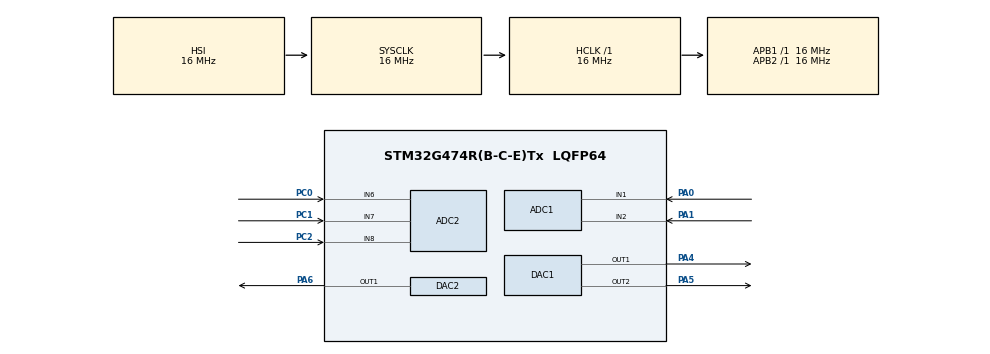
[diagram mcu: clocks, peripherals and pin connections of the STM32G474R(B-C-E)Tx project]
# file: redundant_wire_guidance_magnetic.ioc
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ADC1.Channel-2\#ChannelRegularConversion=ADC_CHANNEL_1
ADC1.Channel-3\#ChannelRegularConversion=ADC_CHANNEL_2
ADC1.ClockPrescaler=ADC_CLOCK_SYNC_PCLK_DIV4
ADC1.ContinuousConvMode=ENABLE
ADC1.DMAContinuousRequests=ENABLE
ADC1.EOCSelection=ADC_EOC_SINGLE_CONV
ADC1.NbrOfConversion=2
ADC1.NbrOfConversionFlag=1
ADC1.OffsetNumber-2\#ChannelRegularConversion=ADC_OFFSET_NONE
ADC1.OffsetNumber-3\#ChannelRegularConversion=ADC_OFFSET_NONE
ADC1.Overrun=ADC_OVR_DATA_OVERWRITTEN
ADC1.Rank-2\#ChannelRegularConversion=1
ADC1.Rank-3\#ChannelRegularConversion=2
ADC1.SamplingTime-2\#ChannelRegularConversion=ADC_SAMPLETIME_47CYCLES_5
ADC1.SamplingTime-3\#ChannelRegularConversion=ADC_SAMPLETIME_47CYCLES_5
ADC1.master=1
ADC2.Channel-3\#ChannelRegularConversion=ADC_CHANNEL_6
ADC2.Channel-4\#ChannelRegularConversion=ADC_CHANNEL_7
ADC2.Channel-5\#ChannelRegularConversion=ADC_CHANNEL_8
ADC2.ClockPrescaler=ADC_CLOCK_SYNC_PCLK_DIV4
ADC2.ContinuousConvMode=ENABLE
ADC2.DMAContinuousRequests=ENABLE
ADC2.EOCSelection=ADC_EOC_SINGLE_CONV
ADC2.NbrOfConversion=3
ADC2.NbrOfConversionFlag=1
ADC2.OffsetNumber-3\#ChannelRegularConversion=ADC_OFFSET_NONE
ADC2.OffsetNumber-4\#ChannelRegularConversion=ADC_OFFSET_NONE
ADC2.OffsetNumber-5\#ChannelRegularConversion=ADC_OFFSET_NONE
ADC2.Overrun=ADC_OVR_DATA_OVERWRITTEN
ADC2.Rank-3\#ChannelRegularConversion=1
ADC2.Rank-4\#ChannelRegularConversion=2
ADC2.Rank-5\#ChannelRegularConversion=3
ADC2.SamplingTime-3\#ChannelRegularConversion=ADC_SAMPLETIME_47CYCLES_5
ADC2.SamplingTime-4\#ChannelRegularConversion=ADC_SAMPLETIME_47CYCLES_5
ADC2.SamplingTime-5\#ChannelRegularConversion=ADC_SAMPLETIME_47CYCLES_5
DAC1.DAC_Channel-DAC_OUT2=DAC_CHANNEL_2
DAC1.DAC_Trigger2_OUT2-DAC_OUT2=DAC_TRIGGER_NONE
DAC1.DAC_Trigger_OUT1-DAC_OUT1=DAC_TRIGGER_T2_TRGO
DAC1.DAC_Trigger_OUT2-DAC_OUT2=DAC_TRIGGER_T2_TRGO
DAC1.WaveGeneration_OUT2-DAC_OUT2=DISABLE
DAC2.DAC_Trigger_OUT1-DAC_OUT1=DAC_TRIGGER_T2_TRGO
Dma.ADC1.0.Direction=DMA_PERIPH_TO_MEMORY
Dma.ADC1.0.EventEnable=DISABLE
Dma.ADC1.0.Instance=DMA1_Channel1
Dma.ADC1.0.MemDataAlignment=DMA_MDATAALIGN_HALFWORD
Dma.ADC1.0.MemInc=DMA_MINC_ENABLE
Dma.ADC1.0.Mode=DMA_CIRCULAR
Dma.ADC1.0.PeriphDataAlignment=DMA_PDATAALIGN_HALFWORD
Dma.ADC1.0.PeriphInc=DMA_PINC_DISABLE
Dma.ADC1.0.Polarity=HAL_DMAMUX_REQ_GEN_RISING
Dma.ADC1.0.Priority=DMA_PRIORITY_LOW
Dma.ADC1.0.RequestNumber=1
Dma.ADC1.0.SignalID=NONE
Dma.ADC1.0.SyncEnable=DISABLE
Dma.ADC1.0.SyncPolarity=HAL_DMAMUX_SYNC_NO_EVENT
Dma.ADC1.0.SyncRequestNumber=1
Dma.ADC1.0.SyncSignalID=NONE
Dma.ADC2.4.Direction=DMA_PERIPH_TO_MEMORY
Dma.ADC2.4.EventEnable=DISABLE
Dma.ADC2.4.Instance=DMA1_Channel5
Dma.ADC2.4.MemDataAlignment=DMA_MDATAALIGN_HALFWORD
Dma.ADC2.4.MemInc=DMA_MINC_ENABLE
Dma.ADC2.4.Mode=DMA_CIRCULAR
Dma.ADC2.4.PeriphDataAlignment=DMA_PDATAALIGN_HALFWORD
Dma.ADC2.4.PeriphInc=DMA_PINC_DISABLE
Dma.ADC2.4.Polarity=HAL_DMAMUX_REQ_GEN_RISING
Dma.ADC2.4.Priority=DMA_PRIORITY_LOW
Dma.ADC2.4.RequestNumber=1
Dma.ADC2.4.SignalID=NONE
Dma.ADC2.4.SyncEnable=DISABLE
Dma.ADC2.4.SyncPolarity=HAL_DMAMUX_SYNC_NO_EVENT
Dma.ADC2.4.SyncRequestNumber=1
Dma.ADC2.4.SyncSignalID=NONE
Dma.DAC1_CH1.2.Direction=DMA_MEMORY_TO_PERIPH
Dma.DAC1_CH1.2.EventEnable=DISABLE
Dma.DAC1_CH1.2.Instance=DMA1_Channel3
Dma.DAC1_CH1.2.MemDataAlignment=DMA_MDATAALIGN_HALFWORD
Dma.DAC1_CH1.2.MemInc=DMA_MINC_ENABLE
Dma.DAC1_CH1.2.Mode=DMA_CIRCULAR
Dma.DAC1_CH1.2.PeriphDataAlignment=DMA_PDATAALIGN_WORD
Dma.DAC1_CH1.2.PeriphInc=DMA_PINC_DISABLE
Dma.DAC1_CH1.2.Polarity=HAL_DMAMUX_REQ_GEN_RISING
Dma.DAC1_CH1.2.Priority=DMA_PRIORITY_LOW
Dma.DAC1_CH1.2.RequestNumber=1
Dma.DAC1_CH1.2.SignalID=NONE
Dma.DAC1_CH1.2.SyncEnable=DISABLE
Dma.DAC1_CH1.2.SyncPolarity=HAL_DMAMUX_SYNC_NO_EVENT
Dma.DAC1_CH1.2.SyncRequestNumber=1
Dma.DAC1_CH1.2.SyncSignalID=NONE
Dma.DAC1_CH2.1.Direction=DMA_MEMORY_TO_PERIPH
Dma.DAC1_CH2.1.EventEnable=DISABLE
Dma.DAC1_CH2.1.Instance=DMA1_Channel2
Dma.DAC1_CH2.1.MemDataAlignment=DMA_MDATAALIGN_HALFWORD
Dma.DAC1_CH2.1.MemInc=DMA_MINC_ENABLE
Dma.DAC1_CH2.1.Mode=DMA_CIRCULAR
Dma.DAC1_CH2.1.PeriphDataAlignment=DMA_PDATAALIGN_WORD
Dma.DAC1_CH2.1.PeriphInc=DMA_PINC_DISABLE
Dma.DAC1_CH2.1.Polarity=HAL_DMAMUX_REQ_GEN_RISING
Dma.DAC1_CH2.1.Priority=DMA_PRIORITY_LOW
Dma.DAC1_CH2.1.RequestNumber=1
Dma.DAC1_CH2.1.SignalID=NONE
Dma.DAC1_CH2.1.SyncEnable=DISABLE
Dma.DAC1_CH2.1.SyncPolarity=HAL_DMAMUX_SYNC_NO_EVENT
Dma.DAC1_CH2.1.SyncRequestNumber=1
Dma.DAC1_CH2.1.SyncSignalID=NONE
Dma.DAC2_CH1.3.Direction=DMA_MEMORY_TO_PERIPH
Dma.DAC2_CH1.3.EventEnable=DISABLE
Dma.DAC2_CH1.3.Instance=DMA1_Channel4
Dma.DAC2_CH1.3.MemDataAlignment=DMA_MDATAALIGN_HALFWORD
Dma.DAC2_CH1.3.MemInc=DMA_MINC_ENABLE
Dma.DAC2_CH1.3.Mode=DMA_CIRCULAR
Dma.DAC2_CH1.3.PeriphDataAlignment=DMA_PDATAALIGN_WORD
Dma.DAC2_CH1.3.PeriphInc=DMA_PINC_DISABLE
Dma.DAC2_CH1.3.Polarity=HAL_DMAMUX_REQ_GEN_RISING
Dma.DAC2_CH1.3.Priority=DMA_PRIORITY_LOW
Dma.DAC2_CH1.3.RequestNumber=1
Dma.DAC2_CH1.3.SignalID=NONE
Dma.DAC2_CH1.3.SyncEnable=DISABLE
Dma.DAC2_CH1.3.SyncPolarity=HAL_DMAMUX_SYNC_NO_EVENT
Dma.DAC2_CH1.3.SyncRequestNumber=1
Dma.DAC2_CH1.3.SyncSignalID=NONE
Dma.Request0=ADC1
Dma.Request1=DAC1_CH2
Dma.Request2=DAC1_CH1
Dma.Request3=DAC2_CH1
Dma.Request4=ADC2
Mcu.Family=STM32G4
Mcu.Name=STM32G474R(B-C-E)Tx
Mcu.Package=LQFP64
NVIC.DMA1_Channel5_IRQn=true\:0\:0\:false\:false\:true\:true\:true\:true
NVIC.PriorityGroup=NVIC_PRIORITYGROUP_4
NVIC.TIM3_IRQn=true\:0\:0\:false\:false\:true\:true\:true\:true
PA0.Mode=IN1-Single-Ended
PA0.Signal=ADC1_IN1
PA1.Mode=IN2-Single-Ended
PA1.Signal=ADC1_IN2
PA4.Signal=COMP_DAC11_group
PA5.Signal=COMP_DAC12_group
PA6.Signal=COMP_DAC21_group
PC0.Mode=IN6-Single-Ended
PC0.Signal=ADC2_IN6
PC1.Mode=IN7-Single-Ended
PC1.Signal=ADC2_IN7
PC2.Mode=IN8-Single-Ended
PC2.Signal=ADC2_IN8
ProjectManager.HeapSize=0x200
ProjectManager.StackSize=0x400
ProjectManager.TargetToolchain=STM32CubeIDE
RCC.AHBFreq_Value=16000000
RCC.APB1Freq_Value=16000000
RCC.APB1TimFreq_Value=16000000
RCC.APB2Freq_Value=16000000
RCC.APB2TimFreq_Value=16000000
RCC.CortexFreq_Value=16000000
RCC.EXTERNAL_CLOCK_VALUE=12288000
RCC.HCLKFreq_Value=16000000
RCC.HSE_VALUE=8000000
RCC.HSI48_VALUE=48000000
RCC.HSI_VALUE=16000000
RCC.LSE_VALUE=32768
RCC.SYSCLKFreq_VALUE=16000000
RCC.USBFreq_Value=64000000
RCC.VCOOutputFreq_Value=128000000
SH.COMP_DAC11_group.0=DAC1_OUT1,DAC_OUT1
SH.COMP_DAC12_group.0=DAC1_OUT2,DAC_OUT2
SH.COMP_DAC21_group.0=DAC2_OUT1,DAC_OUT1
TIM2.PeriodNoDither=50
TIM2.Prescaler=0
TIM2.TIM_MasterOutputTrigger=TIM_TRGO_UPDATE
TIM3.PeriodNoDither=9
TIM3.Prescaler=15999
VP_SYS_VS_DBSignals.Mode=DisableDeadBatterySignals
VP_TIM2_VS_ClockSourceINT.Mode=Internal
VP_TIM3_VS_ClockSourceINT.Mode=Internal
board=custom

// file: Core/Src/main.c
/* USER CODE BEGIN Header */
/*Hola soy motorolo */
//Soy mario
// that's me
/**
  ******************************************************************************
  * @file           : main.c
  * @brief          : Main program body
  ******************************************************************************
  * @attention
  *
  * Copyright (c) 2026 STMicroelectronics.
  * All rights reserved.
  *
  * This software is licensed under terms that can be found in the LICENSE file
  * in the root directory of this software component.
  * If no LICENSE file comes with this software, it is provided AS-IS.
  *
  ******************************************************************************
  */
/* USER CODE END Header */
#include "main.h"

/* USER CODE BEGIN Includes */
#include "math.h"
#include <stdlib.h>
/* USER CODE END Includes */

/* USER CODE BEGIN PTD */
typedef struct {
    float right;
    float left;
    float center;
} CoilDistances;

CoilDistances coil_distance;
/* USER CODE END PTD */

/* USER CODE BEGIN PM */
#define SAMPLES 60
#define DAC_CENTER 3102 // 2.5 V
#define DAC_MAX 3722 // 2.5 V + 500mV = 3V
#define PI 3.14159265f
#define SAMPLES_PER_CHANNEL 1024
#define ADC_BUFFER_SIZE 3072

/* USER CODE END PM */

ADC_HandleTypeDef hadc1;
ADC_HandleTypeDef hadc2;
DMA_HandleTypeDef hdma_adc1;
DMA_HandleTypeDef hdma_adc2;

DAC_HandleTypeDef hdac1;
DAC_HandleTypeDef hdac2;
DMA_HandleTypeDef hdma_dac1_ch2;
DMA_HandleTypeDef hdma_dac1_ch1;
DMA_HandleTypeDef hdma_dac2_ch1;

TIM_HandleTypeDef htim2;
TIM_HandleTypeDef htim3;

/* USER CODE BEGIN PV */
volatile uint16_t adc_buffer_magnetic[2];
volatile uint16_t adc_buffer_wire[3];

volatile uint16_t adc_buffer_wire_sin[ADC_BUFFER_SIZE];

HAL_StatusTypeDef status;

uint16_t sinewave[60] = {
0x07ff,0x08cb,0x0994,0x0a5a,0x0b18,0x0bce,0x0c79,0x0d18,0x0da8,0x0e29,0x0e98,0x0ef4,0x0f3e,0x0f72,0x0f92,0x0f9d,
0x0f92,0x0f72,0x0f3e,0x0ef4,0x0e98,0x0e29,0x0da8,0x0d18,0x0c79,0x0bce,0x0b18,0x0a5a,0x0994,0x08cb,0x07ff,0x0733,
0x066a,0x05a4,0x04e6,0x0430,0x0385,0x02e6,0x0256,0x01d5,0x0166,0x010a,0x00c0,0x008c,0x006c,0x0061,0x006c,0x008c,
0x00c0,0x010a,0x0166,0x01d5,0x0256,0x02e6,0x0385,0x0430,0x04e6,0x05a4,0x066a,0x0733};

uint16_t sinewave_left[SAMPLES];
uint16_t sinewave_right[SAMPLES];
uint16_t sinewave_center[SAMPLES];
/* USER CODE END PV */

void SystemClock_Config(void);
static void MX_GPIO_Init(void);
static void MX_DMA_Init(void);
static void MX_ADC1_Init(void);
static void MX_DAC1_Init(void);
static void MX_TIM2_Init(void);
static void MX_TIM3_Init(void);
static void MX_DAC2_Init(void);
static void MX_ADC2_Init(void);
/* USER CODE BEGIN PFP */
void GenerateLeftSineWave(uint16_t amplitude);
void GenerateRightSineWave(uint16_t amplitude);
void GenerateCenterSineWave(uint16_t amplitude);
float normalize_sensor0(uint16_t s0);
float normalize_sensor1(uint16_t s1);
int16_t calculate_error(uint16_t s0);
/* USER CODE END PFP */

int main(void)
{

  /* USER CODE BEGIN 1 */
	GenerateCenterSineWave(300);
  /* USER CODE END 1 */

  /* MCU Configuration--------------------------------------------------------*/

  /* Reset of all peripherals, Initializes the Flash interface and the Systick. */
  HAL_Init();

  /* Configure the system clock */
  SystemClock_Config();

  /* Initialize all configured peripherals */
  MX_GPIO_Init();
  MX_DMA_Init();
  MX_ADC1_Init();
  MX_DAC1_Init();
  MX_TIM2_Init();
  MX_TIM3_Init();
  MX_DAC2_Init();
  MX_ADC2_Init();
  /* USER CODE BEGIN 2 */
  //HAL_ADCEx_Calibration_Start(&hadc1, ADC_SINGLE_ENDED);

  if (HAL_ADC_Start_DMA(&hadc1, (uint32_t*)adc_buffer_magnetic, 2) != HAL_OK)
        {
          /* Counter enable error */
          Error_Handler();
        }

  if (HAL_ADC_Start_DMA(&hadc2, (uint32_t*)adc_buffer_wire_sin, ADC_BUFFER_SIZE) != HAL_OK)
      {
        /* Counter enable error */
        Error_Handler();
      }

  if (HAL_TIM_Base_Start(&htim2) != HAL_OK)
    {
      /* Counter enable error */
      Error_Handler();
    }

  if (HAL_TIM_Base_Start_IT(&htim3) != HAL_OK)
  {
      Error_Handler();
  }

    /*## Start DAC conversions ###############################################*/
      /* Start DAC wave generation */

    if (HAL_DAC_Start_DMA(&hdac1, DAC_CHANNEL_2,
                                (uint32_t *)sinewave_right,
                                60,
                                DAC_ALIGN_12B_R
                               ) != HAL_OK)
          {
            // DAC conversion start error
            Error_Handler();
          }

    if (HAL_DAC_Start_DMA(&hdac1, DAC_CHANNEL_1,
                                    (uint32_t *)sinewave_left,
                                    60,
                                    DAC_ALIGN_12B_R
                                   ) != HAL_OK)
              {
                /* DAC conversion start error */
                Error_Handler();
              }

    if (HAL_DAC_Start_DMA(&hdac2, DAC_CHANNEL_1,
                                        (uint32_t *)sinewave_center,
                                        60,
                                        DAC_ALIGN_12B_R
                                       ) != HAL_OK)
                  {
                    // DAC conversion start error
                    Error_Handler();
                  }

    //GenerateLeftSineWave(300);
    //GenerateRightSineWave(300);

  /* USER CODE END 2 */

  /* Infinite loop */
  while (1)
  {
  }

}

void SystemClock_Config(void)
{
  RCC_OscInitTypeDef RCC_OscInitStruct = {0};
  RCC_ClkInitTypeDef RCC_ClkInitStruct = {0};

  /** Configure the main internal regulator output voltage
  */
  HAL_PWREx_ControlVoltageScaling(PWR_REGULATOR_VOLTAGE_SCALE1);

  /** Initializes the RCC Oscillators according to the specified parameters
  * in the RCC_OscInitTypeDef structure.
  */
  RCC_OscInitStruct.OscillatorType = RCC_OSCILLATORTYPE_HSI;
  RCC_OscInitStruct.HSIState = RCC_HSI_ON;
  RCC_OscInitStruct.HSICalibrationValue = RCC_HSICALIBRATION_DEFAULT;
  RCC_OscInitStruct.PLL.PLLState = RCC_PLL_NONE;
  if (HAL_RCC_OscConfig(&RCC_OscInitStruct) != HAL_OK)
  {
    Error_Handler();
  }

  /** Initializes the CPU, AHB and APB buses clocks
  */
  RCC_ClkInitStruct.ClockType = RCC_CLOCKTYPE_HCLK|RCC_CLOCKTYPE_SYSCLK
                              |RCC_CLOCKTYPE_PCLK1|RCC_CLOCKTYPE_PCLK2;
  RCC_ClkInitStruct.SYSCLKSource = RCC_SYSCLKSOURCE_HSI;
  RCC_ClkInitStruct.AHBCLKDivider = RCC_SYSCLK_DIV1;
  RCC_ClkInitStruct.APB1CLKDivider = RCC_HCLK_DIV1;
  RCC_ClkInitStruct.APB2CLKDivider = RCC_HCLK_DIV1;

  if (HAL_RCC_ClockConfig(&RCC_ClkInitStruct, FLASH_LATENCY_0) != HAL_OK)
  {
    Error_Handler();
  }
}

static void MX_ADC1_Init(void)
{

  ADC_MultiModeTypeDef multimode = {0};
  ADC_ChannelConfTypeDef sConfig = {0};

  /** Common config
  */
  hadc1.Instance = ADC1;
  hadc1.Init.ClockPrescaler = ADC_CLOCK_SYNC_PCLK_DIV4;
  hadc1.Init.Resolution = ADC_RESOLUTION_12B;
  hadc1.Init.DataAlign = ADC_DATAALIGN_RIGHT;
  hadc1.Init.GainCompensation = 0;
  hadc1.Init.ScanConvMode = ADC_SCAN_ENABLE;
  hadc1.Init.EOCSelection = ADC_EOC_SINGLE_CONV;
  hadc1.Init.LowPowerAutoWait = DISABLE;
  hadc1.Init.ContinuousConvMode = ENABLE;
  hadc1.Init.NbrOfConversion = 2;
  hadc1.Init.DiscontinuousConvMode = DISABLE;
  hadc1.Init.ExternalTrigConv = ADC_SOFTWARE_START;
  hadc1.Init.ExternalTrigConvEdge = ADC_EXTERNALTRIGCONVEDGE_NONE;
  hadc1.Init.DMAContinuousRequests = ENABLE;
  hadc1.Init.Overrun = ADC_OVR_DATA_OVERWRITTEN;
  hadc1.Init.OversamplingMode = DISABLE;
  if (HAL_ADC_Init(&hadc1) != HAL_OK)
  {
    Error_Handler();
  }

  /** Configure the ADC multi-mode
  */
  multimode.Mode = ADC_MODE_INDEPENDENT;
  if (HAL_ADCEx_MultiModeConfigChannel(&hadc1, &multimode) != HAL_OK)
  {
    Error_Handler();
  }

  /** Configure Regular Channel
  */
  sConfig.Channel = ADC_CHANNEL_1;
  sConfig.Rank = ADC_REGULAR_RANK_1;
  sConfig.SamplingTime = ADC_SAMPLETIME_47CYCLES_5;
  sConfig.SingleDiff = ADC_SINGLE_ENDED;
  sConfig.OffsetNumber = ADC_OFFSET_NONE;
  sConfig.Offset = 0;
  if (HAL_ADC_ConfigChannel(&hadc1, &sConfig) != HAL_OK)
  {
    Error_Handler();
  }

  /** Configure Regular Channel
  */
  sConfig.Channel = ADC_CHANNEL_2;
  sConfig.Rank = ADC_REGULAR_RANK_2;
  if (HAL_ADC_ConfigChannel(&hadc1, &sConfig) != HAL_OK)
  {
    Error_Handler();
  }

}

static void MX_ADC2_Init(void)
{

  ADC_ChannelConfTypeDef sConfig = {0};

  /** Common config
  */
  hadc2.Instance = ADC2;
  hadc2.Init.ClockPrescaler = ADC_CLOCK_SYNC_PCLK_DIV4;
  hadc2.Init.Resolution = ADC_RESOLUTION_12B;
  hadc2.Init.DataAlign = ADC_DATAALIGN_RIGHT;
  hadc2.Init.GainCompensation = 0;
  hadc2.Init.ScanConvMode = ADC_SCAN_ENABLE;
  hadc2.Init.EOCSelection = ADC_EOC_SINGLE_CONV;
  hadc2.Init.LowPowerAutoWait = DISABLE;
  hadc2.Init.ContinuousConvMode = ENABLE;
  hadc2.Init.NbrOfConversion = 3;
  hadc2.Init.DiscontinuousConvMode = DISABLE;
  hadc2.Init.ExternalTrigConv = ADC_SOFTWARE_START;
  hadc2.Init.ExternalTrigConvEdge = ADC_EXTERNALTRIGCONVEDGE_NONE;
  hadc2.Init.DMAContinuousRequests = ENABLE;
  hadc2.Init.Overrun = ADC_OVR_DATA_OVERWRITTEN;
  hadc2.Init.OversamplingMode = DISABLE;
  if (HAL_ADC_Init(&hadc2) != HAL_OK)
  {
    Error_Handler();
  }

  /** Configure Regular Channel
  */
  sConfig.Channel = ADC_CHANNEL_6;
  sConfig.Rank = ADC_REGULAR_RANK_1;
  sConfig.SamplingTime = ADC_SAMPLETIME_47CYCLES_5;
  sConfig.SingleDiff = ADC_SINGLE_ENDED;
  sConfig.OffsetNumber = ADC_OFFSET_NONE;
  sConfig.Offset = 0;
  if (HAL_ADC_ConfigChannel(&hadc2, &sConfig) != HAL_OK)
  {
    Error_Handler();
  }

  /** Configure Regular Channel
  */
  sConfig.Channel = ADC_CHANNEL_7;
  sConfig.Rank = ADC_REGULAR_RANK_2;
  if (HAL_ADC_ConfigChannel(&hadc2, &sConfig) != HAL_OK)
  {
    Error_Handler();
  }

  /** Configure Regular Channel
  */
  sConfig.Channel = ADC_CHANNEL_8;
  sConfig.Rank = ADC_REGULAR_RANK_3;
  if (HAL_ADC_ConfigChannel(&hadc2, &sConfig) != HAL_OK)
  {
    Error_Handler();
  }

}

static void MX_DAC1_Init(void)
{

  DAC_ChannelConfTypeDef sConfig = {0};

  /** DAC Initialization
  */
  hdac1.Instance = DAC1;
  if (HAL_DAC_Init(&hdac1) != HAL_OK)
  {
    Error_Handler();
  }

  /** DAC channel OUT1 config
  */
  sConfig.DAC_HighFrequency = DAC_HIGH_FREQUENCY_INTERFACE_MODE_AUTOMATIC;
  sConfig.DAC_DMADoubleDataMode = DISABLE;
  sConfig.DAC_SignedFormat = DISABLE;
  sConfig.DAC_SampleAndHold = DAC_SAMPLEANDHOLD_DISABLE;
  sConfig.DAC_Trigger = DAC_TRIGGER_T2_TRGO;
  sConfig.DAC_Trigger2 = DAC_TRIGGER_NONE;
  sConfig.DAC_OutputBuffer = DAC_OUTPUTBUFFER_ENABLE;
  sConfig.DAC_ConnectOnChipPeripheral = DAC_CHIPCONNECT_EXTERNAL;
  sConfig.DAC_UserTrimming = DAC_TRIMMING_FACTORY;
  if (HAL_DAC_ConfigChannel(&hdac1, &sConfig, DAC_CHANNEL_1) != HAL_OK)
  {
    Error_Handler();
  }

  /** DAC channel OUT2 config
  */
  if (HAL_DAC_ConfigChannel(&hdac1, &sConfig, DAC_CHANNEL_2) != HAL_OK)
  {
    Error_Handler();
  }

}

static void MX_DAC2_Init(void)
{

  DAC_ChannelConfTypeDef sConfig = {0};

  /** DAC Initialization
  */
  hdac2.Instance = DAC2;
  if (HAL_DAC_Init(&hdac2) != HAL_OK)
  {
    Error_Handler();
  }

  /** DAC channel OUT1 config
  */
  sConfig.DAC_HighFrequency = DAC_HIGH_FREQUENCY_INTERFACE_MODE_AUTOMATIC;
  sConfig.DAC_DMADoubleDataMode = DISABLE;
  sConfig.DAC_SignedFormat = DISABLE;
  sConfig.DAC_SampleAndHold = DAC_SAMPLEANDHOLD_DISABLE;
  sConfig.DAC_Trigger = DAC_TRIGGER_T2_TRGO;
  sConfig.DAC_Trigger2 = DAC_TRIGGER_NONE;
  sConfig.DAC_OutputBuffer = DAC_OUTPUTBUFFER_ENABLE;
  sConfig.DAC_ConnectOnChipPeripheral = DAC_CHIPCONNECT_EXTERNAL;
  sConfig.DAC_UserTrimming = DAC_TRIMMING_FACTORY;
  if (HAL_DAC_ConfigChannel(&hdac2, &sConfig, DAC_CHANNEL_1) != HAL_OK)
  {
    Error_Handler();
  }

}

static void MX_TIM2_Init(void)
{

  TIM_ClockConfigTypeDef sClockSourceConfig = {0};
  TIM_MasterConfigTypeDef sMasterConfig = {0};

  htim2.Instance = TIM2;
  htim2.Init.Prescaler = 0;
  htim2.Init.CounterMode = TIM_COUNTERMODE_UP;
  htim2.Init.Period = 50;
  htim2.Init.ClockDivision = TIM_CLOCKDIVISION_DIV1;
  htim2.Init.AutoReloadPreload = TIM_AUTORELOAD_PRELOAD_DISABLE;
  if (HAL_TIM_Base_Init(&htim2) != HAL_OK)
  {
    Error_Handler();
  }
  sClockSourceConfig.ClockSource = TIM_CLOCKSOURCE_INTERNAL;
  if (HAL_TIM_ConfigClockSource(&htim2, &sClockSourceConfig) != HAL_OK)
  {
    Error_Handler();
  }
  sMasterConfig.MasterOutputTrigger = TIM_TRGO_UPDATE;
  sMasterConfig.MasterSlaveMode = TIM_MASTERSLAVEMODE_DISABLE;
  if (HAL_TIMEx_MasterConfigSynchronization(&htim2, &sMasterConfig) != HAL_OK)
  {
    Error_Handler();
  }

}

static void MX_TIM3_Init(void)
{

  TIM_ClockConfigTypeDef sClockSourceConfig = {0};
  TIM_MasterConfigTypeDef sMasterConfig = {0};

  htim3.Instance = TIM3;
  htim3.Init.Prescaler = 15999;
  htim3.Init.CounterMode = TIM_COUNTERMODE_UP;
  htim3.Init.Period = 9;
  htim3.Init.ClockDivision = TIM_CLOCKDIVISION_DIV1;
  htim3.Init.AutoReloadPreload = TIM_AUTORELOAD_PRELOAD_DISABLE;
  if (HAL_TIM_Base_Init(&htim3) != HAL_OK)
  {
    Error_Handler();
  }
  sClockSourceConfig.ClockSource = TIM_CLOCKSOURCE_INTERNAL;
  if (HAL_TIM_ConfigClockSource(&htim3, &sClockSourceConfig) != HAL_OK)
  {
    Error_Handler();
  }
  sMasterConfig.MasterOutputTrigger = TIM_TRGO_RESET;
  sMasterConfig.MasterSlaveMode = TIM_MASTERSLAVEMODE_DISABLE;
  if (HAL_TIMEx_MasterConfigSynchronization(&htim3, &sMasterConfig) != HAL_OK)
  {
    Error_Handler();
  }

}

static void MX_DMA_Init(void)
{

  /* DMA controller clock enable */
  __HAL_RCC_DMAMUX1_CLK_ENABLE();
  __HAL_RCC_DMA1_CLK_ENABLE();

  /* DMA interrupt init */
  /* DMA1_Channel5_IRQn interrupt configuration */
  HAL_NVIC_SetPriority(DMA1_Channel5_IRQn, 0, 0);
  HAL_NVIC_EnableIRQ(DMA1_Channel5_IRQn);

}

static void MX_GPIO_Init(void)
{

  /* GPIO Ports Clock Enable */
  __HAL_RCC_GPIOC_CLK_ENABLE();
  __HAL_RCC_GPIOA_CLK_ENABLE();

}

/* USER CODE BEGIN 4 */
void GenerateLeftSineWave(uint16_t amplitude)
{
    for(int i = 0; i < SAMPLES; i++)
    {
        int32_t centered;
        int32_t value;

        centered = (int32_t)sinewave[i] - 2048;

        value = 2048 + ((centered * amplitude) / 2048);

        if(value > DAC_MAX)
            value = DAC_MAX;

        if(value < 0)
            value = 0;

        sinewave_left[i] = (uint16_t)value;
    }
}

void GenerateRightSineWave(uint16_t amplitude)
{
    for(int i = 0; i < SAMPLES; i++)
    {
        int32_t centered;
        int32_t value;

        centered = (int32_t)sinewave[i] - 2048;

        value = 2048 + ((centered * amplitude) / 2048);

        if(value > DAC_MAX)
            value = DAC_MAX;

        if(value < 0)
            value = 0;

        sinewave_right[i] = (uint16_t)value;
    }
}

void GenerateCenterSineWave(uint16_t amplitude)
{
    for(int i = 0; i < SAMPLES; i++)
    {
        int32_t centered;
        int32_t value;

        centered = (int32_t)sinewave[i] - 2048;

        value = 2048 + ((centered * amplitude) / 2048);

        if(value > 4095)
            value = 4095;

        if(value < 0)
            value = 0;

        sinewave_center[i] = (uint16_t)value;
    }
}

int16_t calculate_error(uint16_t s0)
{
	// magnetic tape is there
	return 2085 - s0;
		// if diff0 < 0: magnetic tape to the left
		// if diff1 > 1: magnetic tape to the right
}

void calculate_avgs(){
	uint32_t sum1 = 0;
	uint32_t sum2 = 0;
	uint32_t sum3 = 0;

	for(int i = 0; i < ADC_BUFFER_SIZE; i += 3)
	{
	    sum1 += adc_buffer_wire_sin[i];
	    sum2 += adc_buffer_wire_sin[i + 1];
	    sum3 += adc_buffer_wire_sin[i + 2];
	}

	coil_distance.right = (float)sum1 / SAMPLES_PER_CHANNEL;
	coil_distance.left = (float)sum2 / SAMPLES_PER_CHANNEL;
	coil_distance.center = (float)sum3 / SAMPLES_PER_CHANNEL;

}

void HAL_TIM_PeriodElapsedCallback(TIM_HandleTypeDef *htim)
{
    if(htim->Instance == TIM3)
    {
        uint16_t s0 = adc_buffer_magnetic[0];
        uint16_t l_amp;
        uint16_t r_amp;

        if (coil_distance.right > 750 || coil_distance.left > 750) {
        	if (coil_distance.left < 50)
        		l_amp = 50;
        	 else l_amp = (uint16_t)(abs(coil_distance.left) / 5);
        	if (coil_distance.right < 50) r_amp = 50;
        	else r_amp = (uint16_t)(abs(coil_distance.right) / 5);

        	GenerateRightSineWave(r_amp);
        	GenerateLeftSineWave(l_amp);

        } else {

        	int16_t error = calculate_error(s0);

        	// if error < 0: magnetic tape to the left
        	// if error > 1: magnetic tape to the right
        	uint16_t amp = (uint16_t)(abs(error) / 3);
        	if (amp < 50) amp = 50;
        	if (error == 9999) {
        		GenerateRightSineWave(0);
        		GenerateLeftSineWave(0);
        	}
        	else if (error < 0){
        		GenerateRightSineWave(amp); // this was right
        		GenerateLeftSineWave(50);
        	} else {
        		GenerateLeftSineWave(amp);
        		GenerateRightSineWave(50);
        	}

        }

    }
}

void HAL_ADC_ConvCpltCallback(ADC_HandleTypeDef *hadc)
{
    if(hadc->Instance == ADC2)
    {
    	calculate_avgs();
    }
}

/* USER CODE END 4 */

void Error_Handler(void)
{
  __disable_irq();
  while (1)
  {
  }
}
